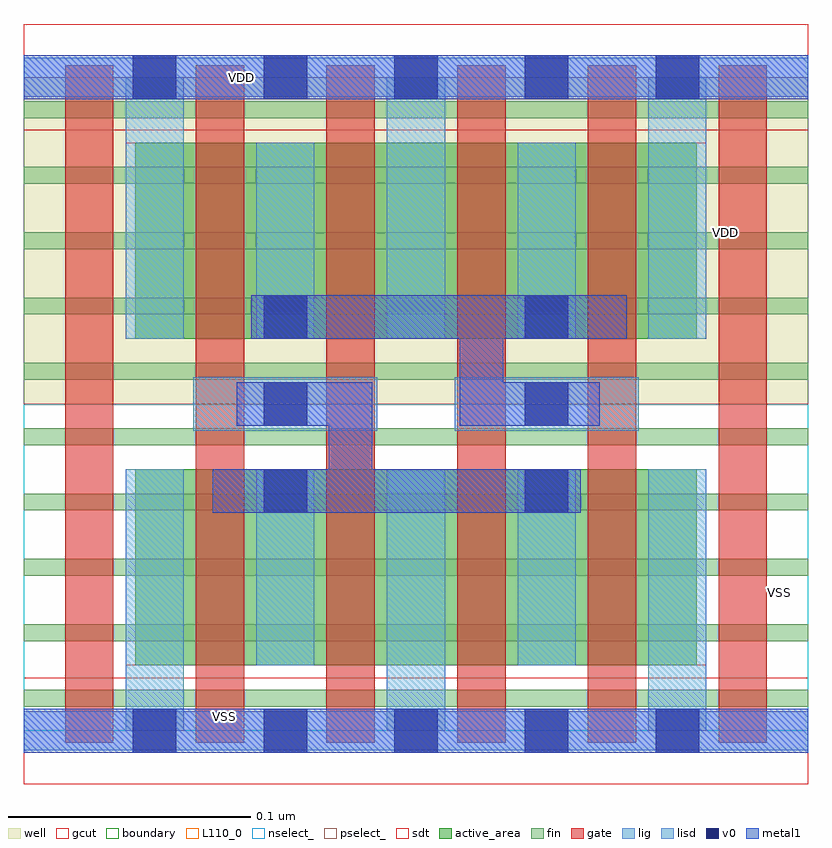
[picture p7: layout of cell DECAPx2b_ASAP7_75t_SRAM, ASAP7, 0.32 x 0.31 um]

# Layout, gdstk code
import gdstk
lib = gdstk.Library(unit=1e-6, precision=1e-09)
def R(c, l, rs):  # rectangles x0, y0, x1, y1
    for r in rs: c.add(gdstk.rectangle(r[:2], r[2:], *l))
def A(c, l, x, y, w, h, nx, ny, dx, dy):  # array of equal rectangles
    R(c, l, [(x+i*dx, y+j*dy, x+i*dx+w, y+j*dy+h) for i in range(nx) for j in range(ny)])
def P(c, l, *ps):  # polygons
    for p in ps: c.add(gdstk.Polygon(p, *l))
well = (1, 0)
fin = (2, 0)
gate = (7, 0)
gcut = (10, 0)
active_area = (11, 0)
nselect_ = (12, 0)
pselect_ = (13, 0)
lig = (16, 0)
lisd = (17, 0)
v0 = (18, 0)
metal1 = (19, 0)
sdt = (88, 0)
boundary = (100, 0)
L110_0 = (110, 0)

decapx2b_asap7_75t_sram = lib.new_cell('DECAPx2b_ASAP7_75t_SRAM')
R(decapx2b_asap7_75t_sram, well, [(0,0.135,0.324,0.27)])
A(decapx2b_asap7_75t_sram, fin, 0, 0.01, 0.324, 0.007, 1, 10, 0, 0.027)
A(decapx2b_asap7_75t_sram, gate, 0.017, -0.005, 0.02, 0.28, 6, 1, 0.054, 0)
R(decapx2b_asap7_75t_sram, gcut, [(0,-0.022,0.324,0.022), (0,0.248,0.324,0.292)])
R(decapx2b_asap7_75t_sram, active_area, [(0.046,0.027,0.278,0.108), (0.046,0.162,0.278,0.243)])
R(decapx2b_asap7_75t_sram, nselect_, [(0,0,0.324,0.135)])
R(decapx2b_asap7_75t_sram, pselect_, [(0,0.135,0.324,0.27)])
R(decapx2b_asap7_75t_sram, lig, [(0,-0.008,0.324,0.008), (0.07,0.124,0.146,0.146), (0.178,0.124,0.254,0.146), (0,0.262,0.324,0.278)])
A(decapx2b_asap7_75t_sram, lisd, 0.042, 0, 0.024, 0.108, 3, 2, 0.108, 0.162)
R(decapx2b_asap7_75t_sram, lisd, [(0.096,0.027,0.12,0.108), (0.204,0.027,0.228,0.108), (0.096,0.162,0.12,0.243), (0.204,0.162,0.228,0.243)])
A(decapx2b_asap7_75t_sram, v0, 0.045, -0.009, 0.018, 0.018, 5, 2, 0.054, 0.27)
A(decapx2b_asap7_75t_sram, v0, 0.099, 0.09, 0.018, 0.018, 1, 3, 0, 0.036)
A(decapx2b_asap7_75t_sram, v0, 0.207, 0.09, 0.018, 0.018, 1, 3, 0, 0.036)
R(decapx2b_asap7_75t_sram, metal1, [(0,-0.009,0.324,0.009), (0,0.261,0.324,0.279)])
P(decapx2b_asap7_75t_sram, metal1, [(0.249,0.18),(0.094,0.18),(0.094,0.162),(0.18,0.162),(0.18,0.126),(0.238,0.126),(0.238,0.144),(0.198,0.144),(0.198,0.162),(0.249,0.162)],
  [(0.23,0.108),(0.144,0.108),(0.144,0.144),(0.088,0.144),(0.088,0.126),(0.126,0.126),(0.126,0.108),(0.078,0.108),(0.078,0.09),(0.23,0.09)])
A(decapx2b_asap7_75t_sram, sdt, 0.042, 0.027, 0.024, 0.081, 5, 2, 0.054, 0.135)
R(decapx2b_asap7_75t_sram, boundary, [(0,0,0.324,0.27)])
R(decapx2b_asap7_75t_sram, L110_0, [(0,0,0.324,0.27)])
decapx2b_asap7_75t_sram.add(gdstk.Label('VDD', (0.09,0.27), layer=19, texttype=251))
decapx2b_asap7_75t_sram.add(gdstk.Label('VSS', (0.083,0.006), layer=19, texttype=251))
decapx2b_asap7_75t_sram.add(gdstk.Label('VSS', (0.312,0.057), layer=3, texttype=251))
decapx2b_asap7_75t_sram.add(gdstk.Label('VDD', (0.29,0.206), layer=1, texttype=251))

lib.write_gds('DECAPx2b_ASAP7_75t_SRAM.gds')
